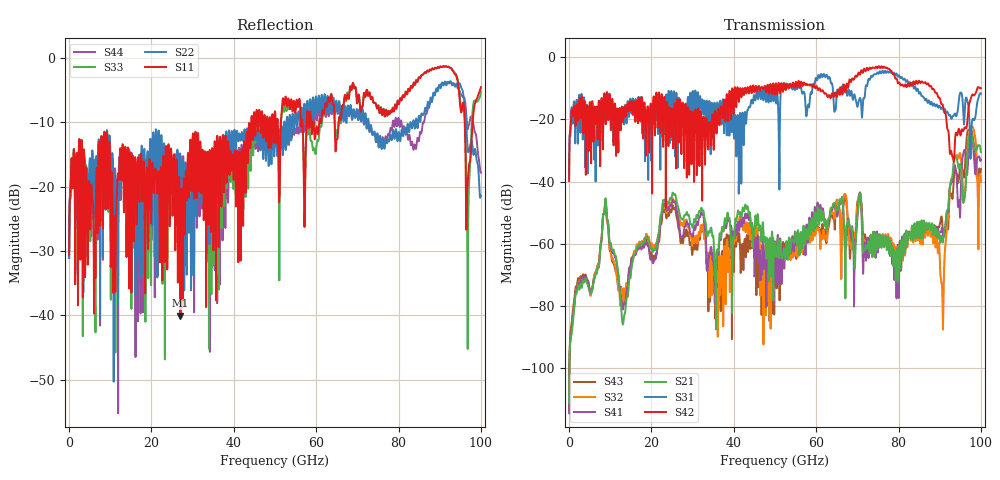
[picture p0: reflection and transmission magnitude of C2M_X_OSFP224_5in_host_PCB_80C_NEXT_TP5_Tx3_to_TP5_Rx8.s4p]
# GHz S RI R 45
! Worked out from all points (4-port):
!   4000 points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, 25 MHz to 100 GHz, reference 45 ohm
!   strongest paths, dB at 25 MHz, 25.02 GHz, 50.02 GHz, 75.03 GHz, 100 GHz:
!     S42: -39.8, -16.5, -10.4, -3.2, -9.9
!     S31: -39.0, -15.9, -10.9, -5.2, -11.7
!     S21: -111.3, -44.4, -61.2, -57.5, -30.5
!     S41: -114.6, -46.6, -59.2, -62.5, -33.0
!     S32: -113.8, -46.1, -64.1, -57.4, -40.1
!     S43: -105.8, -48.3, -60.8, -62.0, -36.0
!   lowest |S11| = -40.1 dB at 27.05 GHz (marker M1), VSWR 1.02, Z = 45.8 - j0.496 ohm
!   |S11| at or under -10 dB: start of sweep to 44.22 GHz; 59.34 GHz to 60.74 GHz (1.403 GHz wide, 2.34 % of centre); 96.08 GHz to 98.01 GHz (1.929 GHz wide, 1.99 % of centre)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
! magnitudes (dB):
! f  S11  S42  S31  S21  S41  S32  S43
! 25 MHz  -30.6  -39.8  -39.0  -111.3  -114.6  -113.8  -105.8
! 8.65 GHz  -12.1  -12.0  -11.9  -48.8  -48.9  -49.1  -49.1
! 13.12 GHz  -14.5  -20.9  -17.1  -85.9  -81.0  -77.5  -76.3
! 27.05 GHz  -40.1  -14.7  -20.4  -51.5  -57.3  -53.7  -59.4
! 90.6 GHz  -1.4  -15.1  -16.1  -58.9  -55.3  -74.3  -52.9
! 93.85 GHz  -2.6  -24.7  -18.6  -32.1  -35.7  -31.7  -36.5
! 100 GHz  -4.6  -9.9  -11.7  -30.5  -33.0  -40.1  -36.0
